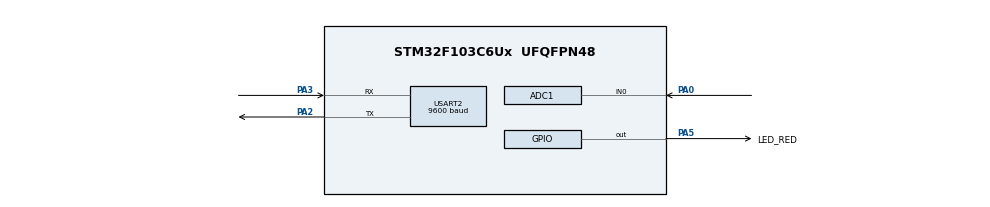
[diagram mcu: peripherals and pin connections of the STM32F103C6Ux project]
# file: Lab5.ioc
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ADC1.Channel-0\#ChannelRegularConversion=ADC_CHANNEL_0
ADC1.ContinuousConvMode=ENABLE
ADC1.NbrOfConversionFlag=1
ADC1.Rank-0\#ChannelRegularConversion=1
ADC1.SamplingTime-0\#ChannelRegularConversion=ADC_SAMPLETIME_1CYCLE_5
ADC1.master=1
Mcu.Family=STM32F1
Mcu.Name=STM32F103C6Ux
Mcu.Package=UFQFPN48
NVIC.ADC1_2_IRQn=true\:0\:0\:false\:false\:true\:true\:true
NVIC.PriorityGroup=NVIC_PRIORITYGROUP_4
NVIC.TIM2_IRQn=true\:0\:0\:false\:false\:true\:true\:true
NVIC.USART2_IRQn=true\:0\:0\:false\:false\:true\:true\:true
PA0-WKUP.Signal=ADCx_IN0
PA2.Mode=Asynchronous
PA2.Signal=USART2_TX
PA3.Mode=Asynchronous
PA3.Signal=USART2_RX
PA5.GPIO_Label=LED_RED
PA5.GPIO_PuPd=GPIO_PULLUP
PA5.Signal=GPIO_Output
ProjectManager.HeapSize=0x200
ProjectManager.StackSize=0x400
ProjectManager.TargetToolchain=STM32CubeIDE
RCC.APB1Freq_Value=8000000
RCC.APB2Freq_Value=8000000
SH.ADCx_IN0.0=ADC1_IN0,IN0
TIM2.Period=39999
TIM2.Prescaler=1
USART2.BaudRate=9600
USART2.VirtualMode=VM_ASYNC
VP_SYS_VS_ND.Mode=No_Debug
VP_TIM2_VS_ClockSourceINT.Mode=Internal
board=custom

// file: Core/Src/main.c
/* USER CODE BEGIN Header */
/**
  ******************************************************************************
  * @file           : main.c
  * @brief          : Main program body
  ******************************************************************************
  * @attention
  *
  * <h2><center>&copy; Copyright (c) 2024 STMicroelectronics.
  * All rights reserved.</center></h2>
  *
  * This software component is licensed by ST under BSD 3-Clause license,
  * the "License"; You may not use this file except in compliance with the
  * License. You may obtain a copy of the License at:
  *                        opensource.org/licenses/BSD-3-Clause
  *
  ******************************************************************************
  */
/* USER CODE END Header */
#include "main.h"

/* USER CODE BEGIN Includes */
#include <stdint.h>
#include <stdio.h>
#include "led.h"
#include "sensor.h"
#include "scheduler.h"
#include "uart.h"
/* USER CODE END Includes */

ADC_HandleTypeDef hadc1;

TIM_HandleTypeDef htim2;

UART_HandleTypeDef huart2;

void SystemClock_Config(void);
static void MX_GPIO_Init(void);
static void MX_ADC1_Init(void);
static void MX_TIM2_Init(void);
static void MX_USART2_UART_Init(void);

int main(void)
{

  /* MCU Configuration--------------------------------------------------------*/

  /* Reset of all peripherals, Initializes the Flash interface and the Systick. */
  HAL_Init();

  /* Configure the system clock */
  SystemClock_Config();

  /* Initialize all configured peripherals */
  MX_GPIO_Init();
  MX_ADC1_Init();
  MX_TIM2_Init();
  MX_USART2_UART_Init();
  /* USER CODE BEGIN 2 */
  HAL_UART_Receive_IT(&huart2, &uartChar, 1);
  HAL_ADC_Start(&hadc1);
  HAL_TIM_Base_Start_IT(&htim2);
  SCH_Init();
  /* USER CODE END 2 */

  /* Infinite loop */
  /* USER CODE BEGIN WHILE */
  SCH_AddTask(ledBlink, 0, 1000);
  SCH_AddTask(uartRead, 0, TIMER_TICK);
  while (1)
  {
    /* USER CODE END WHILE */

    /* USER CODE BEGIN 3 */
	  SCH_Dispatch();

  }
  /* USER CODE END 3 */
}

void SystemClock_Config(void)
{
  RCC_OscInitTypeDef RCC_OscInitStruct = {0};
  RCC_ClkInitTypeDef RCC_ClkInitStruct = {0};
  RCC_PeriphCLKInitTypeDef PeriphClkInit = {0};

  /** Initializes the RCC Oscillators according to the specified parameters
  * in the RCC_OscInitTypeDef structure.
  */
  RCC_OscInitStruct.OscillatorType = RCC_OSCILLATORTYPE_HSI;
  RCC_OscInitStruct.HSIState = RCC_HSI_ON;
  RCC_OscInitStruct.HSICalibrationValue = RCC_HSICALIBRATION_DEFAULT;
  RCC_OscInitStruct.PLL.PLLState = RCC_PLL_NONE;
  if (HAL_RCC_OscConfig(&RCC_OscInitStruct) != HAL_OK)
  {
    Error_Handler();
  }
  /** Initializes the CPU, AHB and APB buses clocks
  */
  RCC_ClkInitStruct.ClockType = RCC_CLOCKTYPE_HCLK|RCC_CLOCKTYPE_SYSCLK
                              |RCC_CLOCKTYPE_PCLK1|RCC_CLOCKTYPE_PCLK2;
  RCC_ClkInitStruct.SYSCLKSource = RCC_SYSCLKSOURCE_HSI;
  RCC_ClkInitStruct.AHBCLKDivider = RCC_SYSCLK_DIV1;
  RCC_ClkInitStruct.APB1CLKDivider = RCC_HCLK_DIV1;
  RCC_ClkInitStruct.APB2CLKDivider = RCC_HCLK_DIV1;

  if (HAL_RCC_ClockConfig(&RCC_ClkInitStruct, FLASH_LATENCY_0) != HAL_OK)
  {
    Error_Handler();
  }
  PeriphClkInit.PeriphClockSelection = RCC_PERIPHCLK_ADC;
  PeriphClkInit.AdcClockSelection = RCC_ADCPCLK2_DIV2;
  if (HAL_RCCEx_PeriphCLKConfig(&PeriphClkInit) != HAL_OK)
  {
    Error_Handler();
  }
}

static void MX_ADC1_Init(void)
{

  ADC_ChannelConfTypeDef sConfig = {0};

  /** Common config
  */
  hadc1.Instance = ADC1;
  hadc1.Init.ScanConvMode = ADC_SCAN_DISABLE;
  hadc1.Init.ContinuousConvMode = ENABLE;
  hadc1.Init.DiscontinuousConvMode = DISABLE;
  hadc1.Init.ExternalTrigConv = ADC_SOFTWARE_START;
  hadc1.Init.DataAlign = ADC_DATAALIGN_RIGHT;
  hadc1.Init.NbrOfConversion = 1;
  if (HAL_ADC_Init(&hadc1) != HAL_OK)
  {
    Error_Handler();
  }
  /** Configure Regular Channel
  */
  sConfig.Channel = ADC_CHANNEL_0;
  sConfig.Rank = ADC_REGULAR_RANK_1;
  sConfig.SamplingTime = ADC_SAMPLETIME_1CYCLE_5;
  if (HAL_ADC_ConfigChannel(&hadc1, &sConfig) != HAL_OK)
  {
    Error_Handler();
  }

}

static void MX_TIM2_Init(void)
{

  TIM_ClockConfigTypeDef sClockSourceConfig = {0};
  TIM_MasterConfigTypeDef sMasterConfig = {0};

  htim2.Instance = TIM2;
  htim2.Init.Prescaler = 1;
  htim2.Init.CounterMode = TIM_COUNTERMODE_UP;
  htim2.Init.Period = 39999;
  htim2.Init.ClockDivision = TIM_CLOCKDIVISION_DIV1;
  htim2.Init.AutoReloadPreload = TIM_AUTORELOAD_PRELOAD_DISABLE;
  if (HAL_TIM_Base_Init(&htim2) != HAL_OK)
  {
    Error_Handler();
  }
  sClockSourceConfig.ClockSource = TIM_CLOCKSOURCE_INTERNAL;
  if (HAL_TIM_ConfigClockSource(&htim2, &sClockSourceConfig) != HAL_OK)
  {
    Error_Handler();
  }
  sMasterConfig.MasterOutputTrigger = TIM_TRGO_RESET;
  sMasterConfig.MasterSlaveMode = TIM_MASTERSLAVEMODE_DISABLE;
  if (HAL_TIMEx_MasterConfigSynchronization(&htim2, &sMasterConfig) != HAL_OK)
  {
    Error_Handler();
  }

}

static void MX_USART2_UART_Init(void)
{

  huart2.Instance = USART2;
  huart2.Init.BaudRate = 9600;
  huart2.Init.WordLength = UART_WORDLENGTH_8B;
  huart2.Init.StopBits = UART_STOPBITS_1;
  huart2.Init.Parity = UART_PARITY_NONE;
  huart2.Init.Mode = UART_MODE_TX_RX;
  huart2.Init.HwFlowCtl = UART_HWCONTROL_NONE;
  huart2.Init.OverSampling = UART_OVERSAMPLING_16;
  if (HAL_UART_Init(&huart2) != HAL_OK)
  {
    Error_Handler();
  }

}

static void MX_GPIO_Init(void)
{
  GPIO_InitTypeDef GPIO_InitStruct = {0};

  /* GPIO Ports Clock Enable */
  __HAL_RCC_GPIOA_CLK_ENABLE();

  /*Configure GPIO pin Output Level */
  HAL_GPIO_WritePin(LED_RED_GPIO_Port, LED_RED_Pin, GPIO_PIN_RESET);

  /*Configure GPIO pin : LED_RED_Pin */
  GPIO_InitStruct.Pin = LED_RED_Pin;
  GPIO_InitStruct.Mode = GPIO_MODE_OUTPUT_PP;
  GPIO_InitStruct.Pull = GPIO_PULLUP;
  GPIO_InitStruct.Speed = GPIO_SPEED_FREQ_LOW;
  HAL_GPIO_Init(LED_RED_GPIO_Port, &GPIO_InitStruct);

}

/* USER CODE BEGIN 4 */
void HAL_TIM_PeriodElapsedCallback(TIM_HandleTypeDef *htim) {
	if (htim->Instance == TIM2) {
		SCH_Update();
	}
}
/* USER CODE END 4 */

void Error_Handler(void)
{
  __disable_irq();
  while (1)
  {
  }
}

/************************ (C) COPYRIGHT STMicroelectronics *****END OF FILE****/
